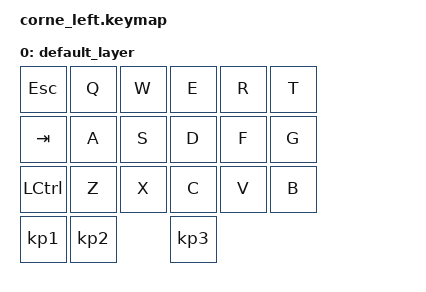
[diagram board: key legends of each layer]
#include <behaviors.dtsi>
#include <dt-bindings/zmk/keys.h>
//#include <dt-bindings/zmk/bt.h>

/ {
    keymap {
        compatible = "zmk,keymap";
        default_layer {
            bindings = <
               &kp ESC    &kp Q   &kp W    &kp E    &kp R   &kp T    
               &kp TAB    &kp A   &kp S    &kp D    &kp F   &kp G  
               &kp LCTRL    &kp Z   &kp X    &kp C    &kp V   &kp B
               &kp KP_N1    &kp KP_N2   &kp KP_N3  
            >;   
        };
    };
};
